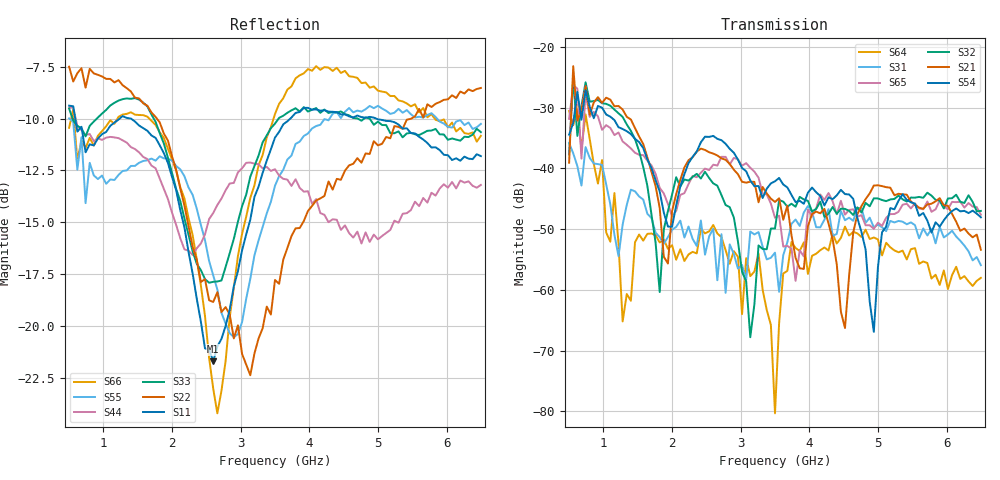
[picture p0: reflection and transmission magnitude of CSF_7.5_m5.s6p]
!Keysight Technologies,M9804A,MY58100912,A.14.10.03
!Date: Thursday, April 27, 2023 10:28:33
!Correction: S11(C  6-Port  )
!S12(C  6-Port  )
!S13(C  6-Port  )
!S14(C  6-Port  )
!S15(C  6-Port  )
!S16(C  6-Port  )
!S21(C  6-Port  )
!S22(C  6-Port  )
!S23(C  6-Port  )
!S24(C  6-Port  )
!S25(C  6-Port  )
!S26(C  6-Port  )
!S31(C  6-Port  )
!S32(C  6-Port  )
!S33(C  6-Port  )
!S34(C  6-Port  )
!S35(C  6-Port  )
!S36(C  6-Port  )
!S41(C  6-Port  )
!S42(C  6-Port  )
!S43(C  6-Port  )
!S44(C  6-Port  )
!S45(C  6-Port  )
!S46(C  6-Port  )
!S51(C  6-Port  )
!S52(C  6-Port  )
!S53(C  6-Port  )
!S54(C  6-Port  )
!S55(C  6-Port  )
!S56(C  6-Port  )
!S61(C  6-Port  )
!S62(C  6-Port  )
!S63(C  6-Port  )
!S64(C  6-Port  )
!S65(C  6-Port  )
!S66(C  6-Port  )
!S6P File: Measurement: :
# Hz S  RI  R 50
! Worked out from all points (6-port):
!   101 points, 500 MHz to 6.5 GHz, reference 50 ohm
!   strongest paths, dB at 500 MHz, 2 GHz, 3.5 GHz, 5 GHz, 6.5 GHz:
!     S54: -34.4, -49.6, -42.1, -56.3, -48.0
!     S21: -39.1, -47.0, -45.5, -42.8, -53.4
!     S32: -37.7, -44.3, -49.9, -44.9, -47.0
!     S65: -31.9, -47.9, -48.1, -48.9, -47.6
!     S31: -35.8, -50.1, -53.9, -49.2, -55.9
!     S64: -30.6, -52.7, -80.3, -51.7, -58.0
!   lowest |S11| = -21.7 dB at 2.6 GHz (marker M1), VSWR 1.18, Z = 42.7 + j2.07 ohm
!   |S11| at or under -10 dB: 589.1 MHz to 1.237 GHz (647.9 MHz wide, 71 % of centre); 1.401 GHz to 3.723 GHz (2.322 GHz wide, 90.7 % of centre); 4.973 GHz to end of sweep
